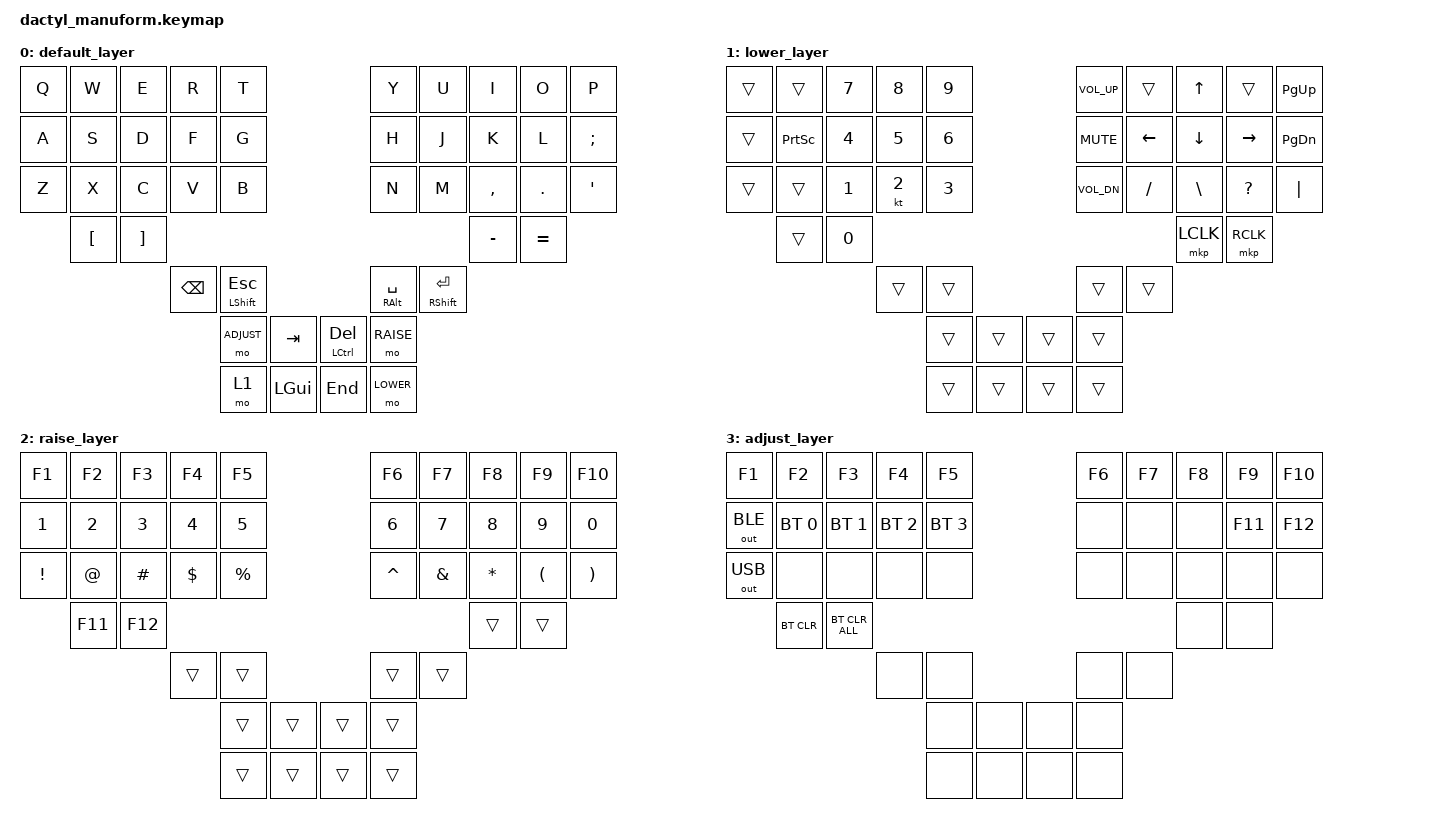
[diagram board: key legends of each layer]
#include <behaviors.dtsi>
#include <dt-bindings/zmk/bt.h>
#include <dt-bindings/zmk/keys.h>
#include <dt-bindings/zmk/keys.h>
#include <dt-bindings/zmk/mouse.h>
#include <dt-bindings/zmk/outputs.h>

#define DEFAULT 0
#define LOWER 1
#define RAISE 2
#define ADJUST 3

&lt {
    flavor = "hold-preferred";
    quick-tap-ms = <200>;
};

&mt {
    flavor = "hold-preferred";
    quick-tap-ms = <200>;
};

/ {
    keymap {
        compatible = "zmk,keymap";

        default_layer {
            bindings = <
&kp Q  &kp W     &kp E     &kp R     &kp T                                    &kp Y           &kp U            &kp I      &kp O      &kp P
&kp A  &kp S     &kp D     &kp F     &kp G                                    &kp H           &kp J            &kp K      &kp L      &kp SEMICOLON
&kp Z  &kp X     &kp C     &kp V     &kp B                                    &kp N           &kp M            &kp COMMA  &kp DOT    &kp SQT
       &kp LBKT  &kp RBKT                                                                                      &kp MINUS  &kp EQUAL
                           &kp BSPC  &mt LSHIFT ESC                           &mt RALT SPACE  &mt RSHFT ENTER
                                     &mo ADJUST      &kp TAB   &mt LCTRL DEL  &mo RAISE
                                     &mo 1           &kp LGUI  &kp END        &mo LOWER
            >;
        };

        lower_layer {
            bindings = <
&trans  &trans     &kp N7  &kp N8  &kp N9                  &kp C_VOL_UP  &trans    &kp UP     &trans     &kp PG_UP
&trans  &kp PSCRN  &kp N4  &kp N5  &kp N6                  &kp C_MUTE    &kp LEFT  &kp DOWN   &kp RIGHT  &kp PG_DN
&trans  &trans     &kp N1  &kt N2  &kp N3                  &kp C_VOL_DN  &kp FSLH  &kp BSLH   &kp QMARK  &kp PIPE
        &trans     &kp N0                                                          &mkp LCLK  &mkp RCLK
                           &trans  &trans                  &trans        &trans
                                   &trans  &trans  &trans  &trans
                                   &trans  &trans  &trans  &trans
            >;
        };

        raise_layer {
            bindings = <
&kp F1    &kp F2   &kp F3    &kp F4    &kp F5                     &kp F6     &kp F7    &kp F8     &kp F9    &kp F10
&kp N1    &kp N2   &kp N3    &kp N4    &kp N5                     &kp N6     &kp N7    &kp N8     &kp N9    &kp N0
&kp EXCL  &kp AT   &kp HASH  &kp DLLR  &kp PRCNT                  &kp CARET  &kp AMPS  &kp ASTRK  &kp LPAR  &kp RPAR
          &kp F11  &kp F12                                                             &trans     &trans
                             &trans    &trans                     &trans     &trans
                                       &trans     &trans  &trans  &trans
                                       &trans     &trans  &trans  &trans
            >;
        };

        adjust_layer {
            bindings = <
&kp F1        &kp F2        &kp F3          &kp F4        &kp F5                      &kp F6  &kp F7  &kp F8  &kp F9   &kp F10
&out OUT_BLE  &bt BT_SEL 0  &bt BT_SEL 1    &bt BT_SEL 2  &bt BT_SEL 3                &none   &none   &none   &kp F11  &kp F12
&out OUT_USB  &none         &none           &none         &none                       &none   &none   &none   &none    &none
              &bt BT_CLR    &bt BT_CLR_ALL                                                            &none   &none
                                            &none         &none                       &none   &none
                                                          &none         &none  &none  &none
                                                          &none         &none  &none  &none
            >;
        };
    };
};
